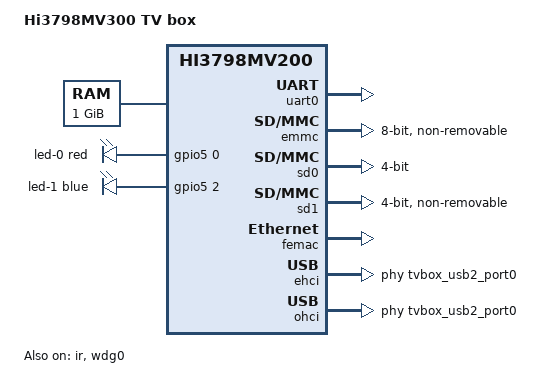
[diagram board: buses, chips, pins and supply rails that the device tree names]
// SPDX-License-Identifier: GPL-2.0
/*
 * DTS for an unbranded Hi3798MV300 set-top box.
 *
 * The vendor device tree carries no board name -- its model is the bare string
 * "Hisilicon" and its compatible is "hi3798mv200-series" -- so the board name
 * here is provisional and describes the SoC rather than the product.
 *
 * Released under the GPLv2 only.
 */

/dts-v1/;

#include <dt-bindings/gpio/gpio.h>
#include <dt-bindings/leds/common.h>

#include "hi3798mv200.dtsi"

/ {
	model = "Hi3798MV300 TV box";
	compatible = "hisilicon,hi3798mv300-tvbox", "hisilicon,hi3798mv200";

	aliases {
		serial0 = &uart0;
		mmc0 = &emmc;
		mmc1 = &sd0;
		ethernet0 = &femac;
	};

	chosen {
		stdout-path = "serial0:115200n8";
	};

	/*
	 * 1 GiB. The stock bootloader's `getinfo ddrfree` reports free DDR as
	 * 0x1000000..0x40000000, and TF-A is built POPLAR_DRAM_SIZE=one_gig to
	 * match. The HC2910 DTS declares 0x80000000; carrying that over here
	 * would map half a gigabyte that does not exist.
	 */
	memory@0 {
		device_type = "memory";
		reg = <0x0 0x0 0x0 0x40000000>;
	};

	/*
	 * The two front-panel LEDs, both on gpio5 -- the PL061 at 0xf8004000,
	 * which sits in the always-on block next to sysctrl rather than with
	 * gpio0-gpio9 at 0xf8b2xxxx. That placement is the point: the indicator
	 * has to stay lit in standby, when the main peripheral domain is down.
	 *
	 * Both are active high, and neither is discoverable from software alone.
	 * Reading GPIODIR/GPIODATA across all ten PL061 banks on a running
	 * kernel showed gpio5 as the only bank with outputs configured (line 0
	 * low, line 1 high), which found red on line 0 but nothing else: the
	 * bootloader leaves the blue LED's pin an *input*, so it never lights
	 * under mainline and never shows up in a register scan. It turned up
	 * only by driving each remaining line in turn and watching the box.
	 *
	 * Line 1 is deliberately left unassigned. It is an output the bootloader
	 * leaves high, but it lights nothing, and until what it does is known it
	 * must not be handed to a driver -- least of all one that would blink it.
	 *
	 * The vendor stack is no help: /vendor/bin/gpio-led only calls
	 * HI_UNF_GPIO_Init(), polls the service.bootanim.exit property and calls
	 * HI_UNF_GPIO_DeInit(). The pin numbers live inside the closed
	 * HI_UNF_GPIO library and the vendor device tree has no LED node at all.
	 */
	leds {
		compatible = "gpio-leds";

		led-0 {
			gpios = <&gpio5 0 GPIO_ACTIVE_HIGH>;
			color = <LED_COLOR_ID_RED>;
			function = LED_FUNCTION_ACTIVITY;
			/*
			 * eMMC activity. mmc0 is f9830000.mmc, the eMMC -- mmc1 is
			 * the empty SD slot and mmc2 the SDIO Wi-Fi. The "cpu"
			 * trigger was useless here: the box is rarely idle enough
			 * for it to blink, so the LED just stayed on.
			 */
			linux,default-trigger = "mmc0";
		};

		led-1 {
			gpios = <&gpio5 2 GPIO_ACTIVE_HIGH>;
			color = <LED_COLOR_ID_BLUE>;
			function = LED_FUNCTION_POWER;
			/*
			 * The stock firmware turns this on solid once Android has
			 * booted. A heartbeat says more -- it distinguishes a live
			 * kernel from a hung one -- and any other trigger is one
			 * write to /sys/class/leds/blue:power/trigger away.
			 */
			linux,default-trigger = "heartbeat";
		};
	};

	reserved-memory {
		/*
		 * BL31 stays resident after hand-off and must not be handed to
		 * the page allocator. Its address follows from the l-loader
		 * link base this port uses:
		 *
		 *   LLOADER_TEXT_BASE 0x02000000
		 *   BL1_BASE          0x0200f000   (matches the boot log,
		 *                                  "CPU0 executes at 0x0200f000")
		 *   BL2_BASE          0x0201f000   (+ BL1_SIZE  0x10000)
		 *   BL31_BASE         0x0202c000   (+ BL2_SIZE  0xd000)
		 *   BL31_LIMIT        0x0203f000   (+ BL31_SIZE 0x13000)
		 *
		 * 0x02000000 + 256 KiB covers the whole staging area in one
		 * aligned block. The sml@c00000 reservation inherited from the
		 * dtsi describes the *default* TF-A layout, which this port
		 * does not use -- 0x00C00000 is where the stock bootloader is
		 * linked, so l-loader was moved off it.
		 */
		bl31@2000000 {
			reg = <0x0 0x02000000 0x0 0x00040000>;
			no-map;
		};
	};
};

&uart0 {
	status = "okay";
};

/*
 * Both MMC nodes carry a "default" pinctrl state, and mainline has no pinctrl
 * driver for this SoC yet -- drivers/pinctrl/ contains no HiSilicon STB driver
 * at all, and Yang Xiwen's b4/pinctrl branch has not been rebased forward.
 *
 * A pinctrl state that no provider can supply makes pinctrl_bind_pins() return
 * -EPROBE_DEFER, so the device defers forever. Deferred probe is silent, so the
 * controller simply never appears and the boot stops at "Waiting for root
 * device" with nothing else logged.
 *
 * Dropping the states is safe during bring-up because the stock bootloader has
 * already muxed these pins -- it boots Android off the same eMMC. Restore them
 * once a pinctrl driver exists, or the mux will be wrong on any boot path that
 * does not go through the vendor bootloader first.
 */
&emmc {
	/delete-property/ pinctrl-0;
	/delete-property/ pinctrl-names;

	fifo-depth = <256>;
	clock-frequency = <50000000>;
	max-frequency = <150000000>;
	bus-width = <8>;
	cap-mmc-highspeed;
	mmc-ddr-1_8v;
	mmc-hs200-1_8v;
	mmc-hs400-1_8v;
	non-removable;
	status = "okay";
};

&sd0 {
	/delete-property/ pinctrl-0;
	/delete-property/ pinctrl-names;

	fifo-depth = <256>;
	clock-frequency = <150000000>;
	bus-width = <4>;
	cap-sd-highspeed;
	sd-uhs-sdr12;
	sd-uhs-sdr25;
	sd-uhs-sdr50;
	sd-uhs-sdr104;
	sd-uhs-ddr50;
	status = "okay";
};

/*
 * SDIO, which is where the Wi-Fi lives -- an RTL8822BS, handled by rtw88.
 *
 * The vendor DTS calls this controller `himciv200.SD@f9c40000` and gives it
 * caps 0x8007000f: 4-bit data, high speed, SDIO interrupts and the SDR modes.
 * Notably it declares no power-enable GPIO, unlike most Realtek SDIO parts, so
 * no mmc-pwrseq is needed here -- which is just as well, because the GPIO banks
 * still do not probe.
 *
 * `broken-cd` plus `non-removable` because there is no card detect line: the
 * chip is soldered down.
 *
 * rtw88 is built as a module on purpose. It requests firmware during probe,
 * and the SDIO card is found about a second into boot, long before the root
 * filesystem exists -- built in, it would fail before /lib/firmware is there
 * to read.
 */
&sd1 {
	/*
	 * The dtsi spells this node's compatible "hi3798mv200,dw-mshc", while
	 * the two other controllers -- and the driver's match table -- use
	 * "hisilicon,hi3798mv200-dw-mshc". Vendor and family are transposed, so
	 * nothing matches and the controller is simply never probed: no mmc2,
	 * no dmesg line, and nothing in devices_deferred either, because a
	 * device with no driver is not deferred, it is ignored.
	 */
	compatible = "hisilicon,hi3798mv200-dw-mshc";

	/delete-property/ pinctrl-0;
	/delete-property/ pinctrl-names;

	bus-width = <4>;
	max-frequency = <50000000>;
	cap-sd-highspeed;
	cap-sdio-irq;
	sd-uhs-sdr12;
	sd-uhs-sdr25;
	sd-uhs-sdr50;
	non-removable;
	broken-cd;
	status = "okay";
};

/*
 * The FE PHY keeps the dtsi's MDIO address 1. The stock environment reads
 * phy_addr=2,1 and the stock bootloader prints "Eth up port phy at 0x02 is
 * connect", but the address it actually programs into perictrl 0xf8a20118[4:0]
 * is 1 -- read back from a running kernel as 0x03000001. Address 2 gives an
 * MDIO bus that answers 0x00000000 to every read.
 */
&femac {
	status = "okay";
};

/*
 * IR receiver. No linux,rc-map-name on purpose -- the remote this box shipped
 * with has not been identified, so the driver falls back to RC_MAP_EMPTY and
 * every scancode arrives undecorated. Read raw pulses from /dev/lirc0 or
 * scancodes with `ir-keytable -t`, then pick a keymap once one matches.
 */
&ir {
	status = "okay";
};

&gpio0 {
	status = "okay";
};

&gpio1 {
	status = "okay";
};

&gpio2 {
	status = "okay";
};

&gpio3 {
	status = "okay";
};

&gpio4 {
	status = "okay";
};

/*
 * gpio5 drives the front-panel LEDs. It is also the one PL061 on this SoC
 * with no gpio-ranges, so unlike gpio0-gpio9 it probes without a pinctrl
 * driver -- and hisilicon,hi3798mv200-ioconfig has none in mainline.
 */
&gpio5 {
	status = "okay";
};

&gpio6 {
	status = "okay";
};

&gpio7 {
	status = "okay";
};

&gpio8 {
	status = "okay";
};

&gpio9 {
	status = "okay";
};

&wdg0 {
	status = "okay";
};

/*
 * USB2 PHY.
 *
 * This one had to be reverse engineered out of the stock bootloader, because
 * neither the vendor device tree nor the dtsi describes it usably.
 *
 * The vendor DTS has no PHY node at all -- its `hiusbotg` node just maps OHCI,
 * EHCI and a lone word at 0xf8a2012c, and the BSP does PHY setup in C. The
 * dtsi, meanwhile, puts the PHY under a `usb2phy-test-bus` node with no `reg`
 * of its own, expecting a bus driver that exists in no tree, so the upstream
 * driver fails on its own ioremap:
 *
 *   hisi-inno-phy f9865000.usb-phy-bus:usb-phy: error -EINVAL: invalid resource
 *
 * Guessing 0xf8a2012c from the OTG node was wrong. The driver bound and both
 * host controllers registered, but every port then timed out:
 *
 *   ehci-platform f9890000.usb: port 2 reset error -110
 *
 * The stock bootloader has the answer. In the fastboot image its USB2 init
 * routine selects a base by chip ID:
 *
 *   ldr r2, [pc, #236]   ; 0x37980210   <- this chip
 *   cmpeq r0, r2
 *   bne   <other model>
 *   ldr r4, [pc, #212]   ; 0xf9865fff
 *
 * and then writes through r4 with negative offsets:
 *
 *   str r3, [r4, #-4095] -> 0xf9865000   reg 0x00 = 0x18
 *   str r3, [r4, #-3071] -> 0xf9865400   reg 0x00 = 0x18
 *   str r3, [r4, #-4079] -> 0xf9865010   reg 0x04 = 0xd7
 *   str r3, [r4, #-3979] -> 0xf9865074   reg 0x1d = 0x1e
 *   str r3, [r4, #-3971] -> 0xf986507c   reg 0x1f = 0x6e
 *
 * So this SoC does not use the hi3798cv200 test-port protocol, where one word
 * is bit-banged with address, data and a clock bit. Its PHY registers are
 * mapped directly: a 4 KiB window at 0xf9865000, one 32-bit word per 8-bit
 * register, and port 1 a further 0x400 along. That is exactly what the
 * Hi3798MV200 support patch in patches/kernel/ implements -- it ioremaps each
 * port child and writes `base + addr * 4`.
 *
 * The routine finishes by clearing bits 8 and 9 of CRG 0xbc, which confirms the
 * per-port resets below are the right ones.
 *
 * The extra `<&crg 0xbc 15>` is the reset the dtsi hangs on the test-bus node.
 * Nothing drives that bus here, so the PHY has to release it itself, which is
 * why the driver moved to reset_control_array. The bus's APB clock is left as
 * the bootloader set it, on the same reasoning as the MMC pinctrl above.
 *
 * USB3 (xhci/dwc3/combphy) is still off -- one thing at a time.
 */
&soc {
	tvbox_usb2_phy: usb2-phy@9865000 {
		compatible = "hisilicon,hi3798mv200-usb2-phy";
		reg = <0x9865000 0x1000>;
		clocks = <&crg HI3798MV200_USB2_PHY2_REF_CLK>;
		resets = <&crg 0xbc 4>, <&crg 0xbc 15>;
		#address-cells = <1>;
		#size-cells = <1>;
		ranges = <0x0 0x9865000 0x1000>;

		tvbox_usb2_port0: phy@0 {
			reg = <0x0 0x400>;
			resets = <&crg 0xbc 8>;
			#phy-cells = <0>;
		};

		tvbox_usb2_port1: phy@400 {
			reg = <0x400 0x400>;
			resets = <&crg 0xbc 9>;
			#phy-cells = <0>;
		};
	};
};

&ehci {
	phys = <&tvbox_usb2_port0>, <&tvbox_usb2_port1>;
	status = "okay";
};

&ohci {
	phys = <&tvbox_usb2_port0>, <&tvbox_usb2_port1>;
	status = "okay";
};
